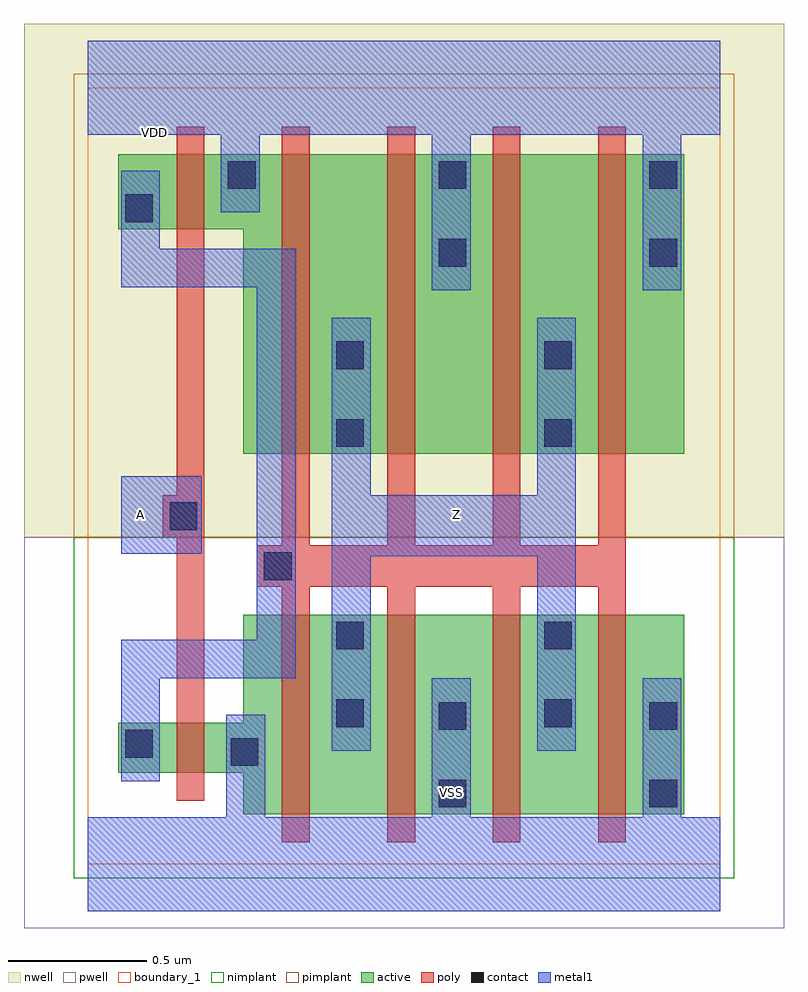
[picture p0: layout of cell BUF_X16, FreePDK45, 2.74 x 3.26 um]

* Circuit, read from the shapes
.subckt BUF_X16 A VDD VSS Z
M1 VSS A n1 VSUBS nfet w=0.18u l=0.1u
M2 Z n1 VSS VSUBS nfet w=0.72u l=0.1u m=4
M3 VDD A n1 n2 pfet w=0.27u l=0.1u
M4 Z n1 VDD n2 pfet w=1.08u l=0.1u m=4
.ends

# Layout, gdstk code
import gdstk
lib = gdstk.Library(unit=1e-6, precision=1e-09)
def R(c, l, rs):  # rectangles x0, y0, x1, y1
    for r in rs: c.add(gdstk.rectangle(r[:2], r[2:], *l))
def A(c, l, x, y, w, h, nx, ny, dx, dy):  # array of equal rectangles
    R(c, l, [(x+i*dx, y+j*dy, x+i*dx+w, y+j*dy+h) for i in range(nx) for j in range(ny)])
def P(c, l, *ps):  # polygons
    for p in ps: c.add(gdstk.Polygon(p, *l))
active = (1, 0)
pwell = (2, 0)
nwell = (3, 0)
nimplant = (4, 0)
pimplant = (5, 0)
poly = (9, 0)
contact = (10, 0)
metal1 = (11, 0)
boundary_1 = (235, 1)

buf_x16 = lib.new_cell('BUF_X16')
P(buf_x16, active, [(0.11,2.29),(0.56,2.29),(0.56,1.48),(2.15,1.48),(2.15,2.56),(0.11,2.56)],
  [(0.11,0.33),(0.56,0.33),(0.56,0.18),(2.15,0.18),(2.15,0.9),(0.56,0.9),(0.56,0.51),(0.11,0.51)])
R(buf_x16, pwell, [(-0.23,-0.23,2.51,1.18)])
R(buf_x16, nwell, [(-0.23,1.18,2.51,3.03)])
R(buf_x16, nimplant, [(-0.05,-0.05,2.33,1.18)])
R(buf_x16, pimplant, [(-0.05,1.18,2.33,2.85)])
P(buf_x16, poly, [(0.61,1),(0.7,1),(0.7,0.08),(0.8,0.08),(0.8,1),(1.08,1),(1.08,0.08),(1.18,0.08),(1.18,1),(1.46,1),(1.46,0.08),(1.56,0.08),(1.56,1),(1.84,1),(1.84,0.08),(1.94,0.08),(1.94,2.66),(1.84,2.66),(1.84,1.15),(1.56,1.15),(1.56,2.66),(1.46,2.66),(1.46,1.15),(1.18,1.15),(1.18,2.66),(1.08,2.66),(1.08,1.15),(0.8,1.15),(0.8,2.66),(0.7,2.66),(0.7,1.15),(0.61,1.15)],
  [(0.27,1.18),(0.32,1.18),(0.32,0.23),(0.42,0.23),(0.42,2.66),(0.32,2.66),(0.32,1.33),(0.27,1.33)])
A(buf_x16, contact, 0.505, 2.435, 0.1, 0.1, 3, 1, 0.76, 0)
R(buf_x16, contact, [(1.265,0.205,1.365,0.305), (2.025,0.205,2.125,0.305), (0.515,0.355,0.615,0.455), (0.135,0.385,0.235,0.485), (1.265,0.485,1.365,0.585), (2.025,0.485,2.125,0.585), (0.895,0.495,0.995,0.595), (1.645,0.495,1.745,0.595), (0.895,0.775,0.995,0.875), (1.645,0.775,1.745,0.875), (0.635,1.025,0.735,1.125), (0.295,1.205,0.395,1.305), (0.895,1.505,0.995,1.605), (1.645,1.505,1.745,1.605), (0.895,1.785,0.995,1.885), (1.645,1.785,1.745,1.885), (1.265,2.155,1.365,2.255), (2.025,2.155,2.125,2.255), (0.135,2.315,0.235,2.415)])
R(buf_x16, metal1, [(0.12,1.12,0.41,1.4), (0.12,1.12,0.41,1.4)])
P(buf_x16, metal1, [(0,-0.17),(2.28,-0.17),(2.28,0.17),(2.14,0.17),(2.14,0.67),(2,0.67),(2,0.17),(1.38,0.17),(1.38,0.67),(1.24,0.67),(1.24,0.17),(0.64,0.17),(0.64,0.54),(0.5,0.54),(0.5,0.17),(0,0.17)],
  [(0,2.63),(0.48,2.63),(0.48,2.35),(0.62,2.35),(0.62,2.63),(1.24,2.63),(1.24,2.07),(1.38,2.07),(1.38,2.63),(2,2.63),(2,2.07),(2.14,2.07),(2.14,2.63),(2.28,2.63),(2.28,2.97),(0,2.97)],
  [(0.88,0.41),(1.02,0.41),(1.02,1.11),(1.62,1.11),(1.62,0.41),(1.76,0.41),(1.76,1.97),(1.62,1.97),(1.62,1.33),(1.02,1.33),(1.02,1.97),(0.88,1.97)],
  [(0,2.63),(0.48,2.63),(0.48,2.35),(0.62,2.35),(0.62,2.63),(1.24,2.63),(1.24,2.07),(1.38,2.07),(1.38,2.63),(2,2.63),(2,2.07),(2.14,2.07),(2.14,2.63),(2.28,2.63),(2.28,2.97),(0,2.97)],
  [(0,-0.17),(2.28,-0.17),(2.28,0.17),(2.14,0.17),(2.14,0.67),(2,0.67),(2,0.17),(1.38,0.17),(1.38,0.67),(1.24,0.67),(1.24,0.17),(0.64,0.17),(0.64,0.54),(0.5,0.54),(0.5,0.17),(0,0.17)],
  [(0.88,0.41),(1.02,0.41),(1.02,1.11),(1.62,1.11),(1.62,0.41),(1.76,0.41),(1.76,1.97),(1.62,1.97),(1.62,1.33),(1.02,1.33),(1.02,1.97),(0.88,1.97)],
  [(0.12,2.08),(0.61,2.08),(0.61,0.81),(0.12,0.81),(0.12,0.3),(0.26,0.3),(0.26,0.67),(0.75,0.67),(0.75,2.22),(0.26,2.22),(0.26,2.5),(0.12,2.5)])
R(buf_x16, boundary_1, [(0,0,2.28,2.8)])
buf_x16.add(gdstk.Label('Z', (1.33,1.26), layer=11, texttype=0))
buf_x16.add(gdstk.Label('VSS', (1.31,0.26), layer=11, texttype=0))
buf_x16.add(gdstk.Label('VDD', (0.24,2.64), layer=11, texttype=0))
buf_x16.add(gdstk.Label('A', (0.19,1.26), layer=11, texttype=0))

lib.write_gds('BUF_X16.gds')
